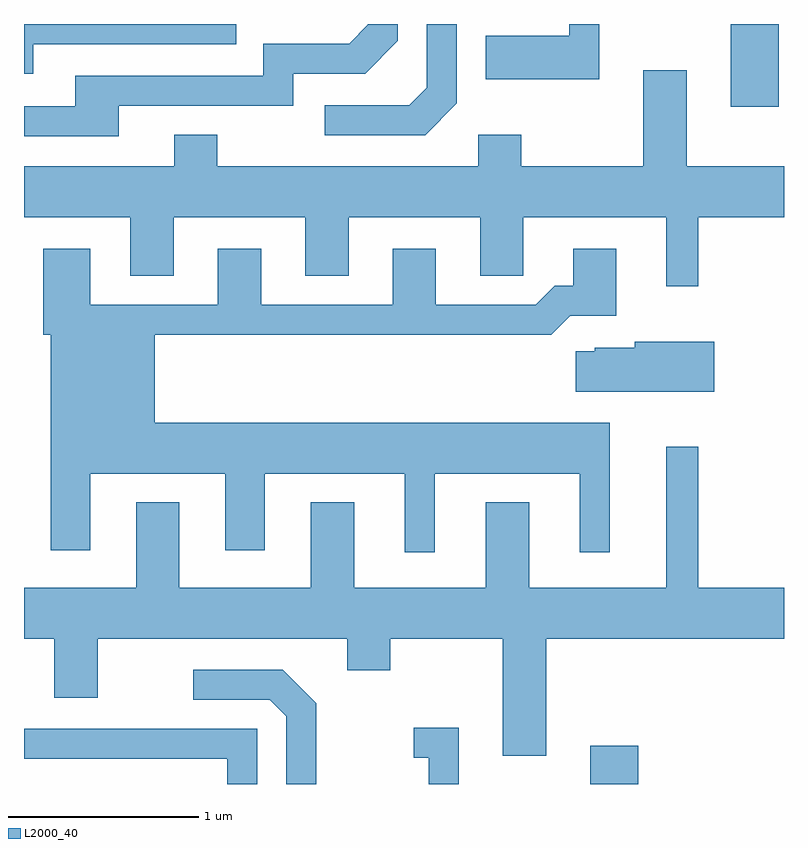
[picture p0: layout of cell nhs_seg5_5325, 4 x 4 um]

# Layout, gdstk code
import gdstk
lib = gdstk.Library(unit=1e-6, precision=1e-09)
def R(c, l, rs):  # rectangles x0, y0, x1, y1
    for r in rs: c.add(gdstk.rectangle(r[:2], r[2:], *l))
def P(c, l, *ps):  # polygons
    for p in ps: c.add(gdstk.Polygon(p, *l))
L2000_40 = (2000, 40)

nhs_seg5_5325 = lib.new_cell('nhs_seg5_5325')
R(nhs_seg5_5325, L2000_40, [(346.591,1416.072,346.844,1416.274), (347.331,1419.636,347.584,1420.072)])
P(nhs_seg5_5325, L2000_40, [(345.889,1419.654),(345.889,1420.072),(345.731,1420.072),(345.731,1419.737),(345.639,1419.644),(345.193,1419.644),(345.193,1419.486),(345.722,1419.486)],
  [(346.639,1420.072),(346.481,1420.072),(346.481,1420.009),(346.041,1420.009),(346.041,1419.781),(346.639,1419.781)],
  [(343.659,1419.966),(344.728,1419.966),(344.728,1420.072),(343.611,1420.072),(343.611,1419.811),(343.659,1419.811)],
  [(344.109,1419.641),(345.029,1419.641),(345.029,1419.811),(345.407,1419.811),(345.579,1419.984),(345.579,1420.072),(345.421,1420.072),(345.421,1420.067),(345.324,1419.969),(344.871,1419.969),(344.871,1419.799),(343.881,1419.799),(343.881,1419.639),(343.611,1419.639),(343.611,1419.481),(344.109,1419.481)],
  [(347.159,1419.056),(347.611,1419.056),(347.611,1419.324),(347.099,1419.324),(347.099,1419.829),(346.871,1419.829),(346.871,1419.324),(346.229,1419.324),(346.229,1419.489),(346.001,1419.489),(346.001,1419.324),(344.629,1419.324),(344.629,1419.489),(344.401,1419.489),(344.401,1419.324),(343.611,1419.324),(343.611,1419.056),(344.171,1419.056),(344.171,1418.746),(344.399,1418.746),(344.399,1419.056),(345.091,1419.056),(345.091,1418.746),(345.319,1418.746),(345.319,1419.056),(346.011,1419.056),(346.011,1418.746),(346.239,1418.746),(346.239,1419.056),(346.991,1419.056),(346.991,1418.693),(347.159,1418.693)],
  [(345.774,1417.706),(346.536,1417.706),(346.536,1417.293),(346.694,1417.293),(346.694,1417.974),(344.299,1417.974),(344.299,1418.436),(346.387,1418.436),(346.487,1418.536),(346.729,1418.536),(346.729,1418.889),(346.501,1418.889),(346.501,1418.694),(346.404,1418.694),(346.304,1418.594),(345.779,1418.594),(345.779,1418.889),(345.551,1418.889),(345.551,1418.594),(344.859,1418.594),(344.859,1418.889),(344.631,1418.889),(344.631,1418.594),(343.959,1418.594),(343.959,1418.889),(343.711,1418.889),(343.711,1418.436),(343.751,1418.436),(343.751,1417.301),(343.959,1417.301),(343.959,1417.706),(344.671,1417.706),(344.671,1417.301),(344.879,1417.301),(344.879,1417.706),(345.616,1417.706),(345.616,1417.293),(345.774,1417.293)],
  [(347.244,1418.399),(346.826,1418.399),(346.826,1418.369),(346.616,1418.369),(346.616,1418.349),(346.516,1418.349),(346.516,1418.136),(347.244,1418.136)],
  [(346.359,1416.836),(347.611,1416.836),(347.611,1417.104),(347.159,1417.104),(347.159,1417.848),(346.991,1417.848),(346.991,1417.104),(346.269,1417.104),(346.269,1417.554),(346.041,1417.554),(346.041,1417.104),(345.349,1417.104),(345.349,1417.554),(345.121,1417.554),(345.121,1417.104),(344.429,1417.104),(344.429,1417.554),(344.201,1417.554),(344.201,1417.104),(343.611,1417.104),(343.611,1416.836),(343.771,1416.836),(343.771,1416.526),(343.999,1416.526),(343.999,1416.836),(345.311,1416.836),(345.311,1416.671),(345.539,1416.671),(345.539,1416.836),(346.131,1416.836),(346.131,1416.221),(346.359,1416.221)],
  [(345.149,1416.497),(344.972,1416.674),(344.503,1416.674),(344.503,1416.516),(344.904,1416.516),(344.991,1416.429),(344.991,1416.072),(345.149,1416.072)],
  [(345.899,1416.369),(345.663,1416.369),(345.663,1416.211),(345.741,1416.211),(345.741,1416.072),(345.899,1416.072)],
  [(344.839,1416.364),(343.611,1416.364),(343.611,1416.206),(344.681,1416.206),(344.681,1416.072),(344.839,1416.072)])

lib.write_gds('nhs_seg5_5325.gds')
